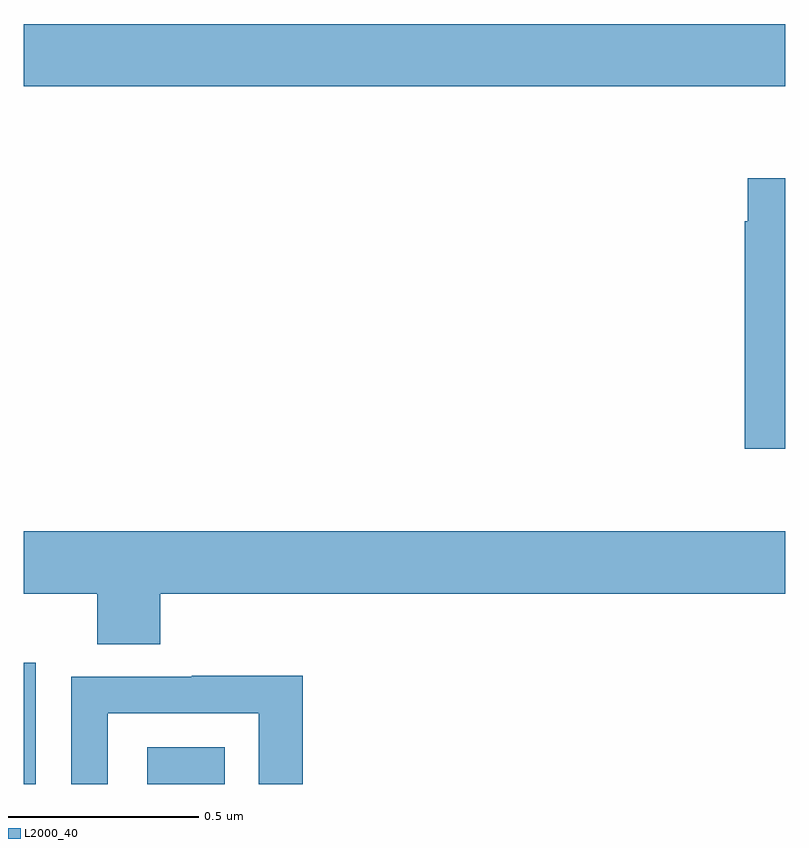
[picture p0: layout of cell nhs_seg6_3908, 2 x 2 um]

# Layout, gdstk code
import gdstk
lib = gdstk.Library(unit=1e-6, precision=1e-09)
def R(c, l, rs):  # rectangles x0, y0, x1, y1
    for r in rs: c.add(gdstk.rectangle(r[:2], r[2:], *l))
def P(c, l, *ps):  # polygons
    for p in ps: c.add(gdstk.Polygon(p, *l))
L2000_40 = (2000, 40)

nhs_seg6_3908 = lib.new_cell('nhs_seg6_3908')
R(nhs_seg6_3908, L2000_40, [(163,949.5,163.032,949.819), (163.325,949.5,163.528,949.597), (163,951.332,165,951.496)])
P(nhs_seg6_3908, L2000_40, [(165,951.091),(164.901,951.091),(164.901,950.978),(164.893,950.978),(164.893,950.381),(165,950.381)],
  [(163.358,950),(165,950),(165,950.164),(163,950.164),(163,950),(163.193,950),(163.193,949.867),(163.358,949.867)],
  [(163.221,949.686),(163.617,949.686),(163.617,949.5),(163.733,949.5),(163.733,949.784),(163.441,949.784),(163.441,949.782),(163.125,949.782),(163.125,949.5),(163.221,949.5)])

lib.write_gds('nhs_seg6_3908.gds')
